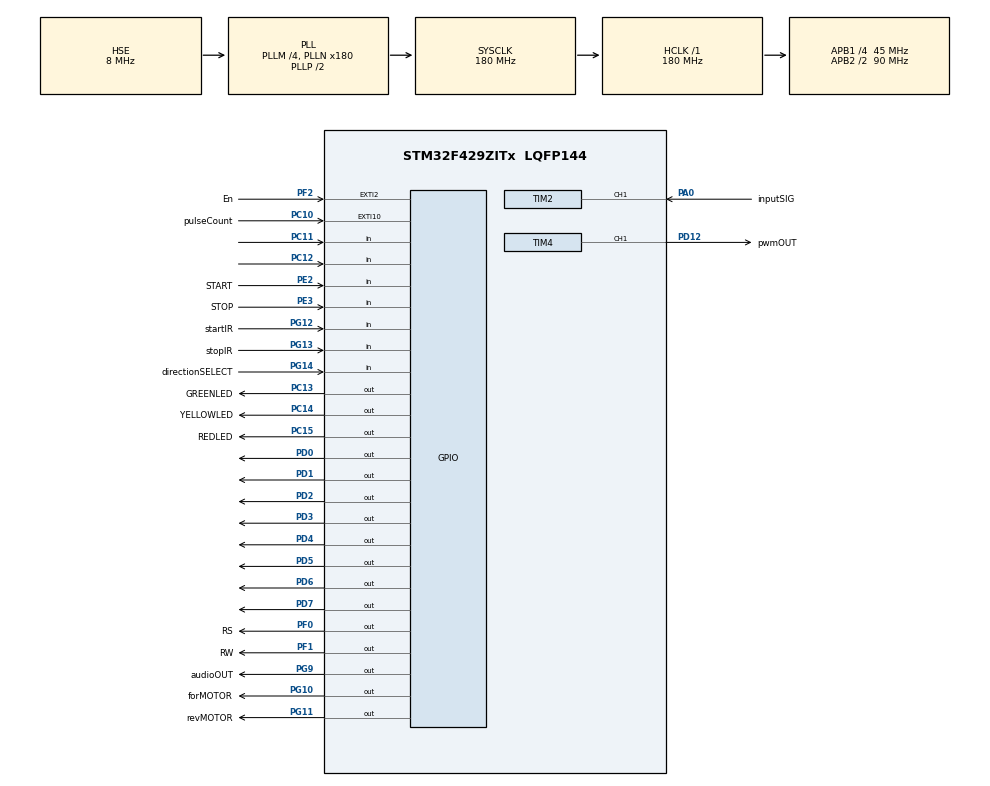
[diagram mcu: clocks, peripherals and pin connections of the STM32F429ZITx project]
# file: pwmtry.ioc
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Mcu.Family=STM32F4
Mcu.Name=STM32F429ZITx
Mcu.Package=LQFP144
NVIC.EXTI15_10_IRQn=true\:0\:0\:false\:false\:true\:true
NVIC.PriorityGroup=NVIC_PRIORITYGROUP_0
NVIC.TIM2_IRQn=true\:0\:0\:false\:false\:true\:true
NVIC.TIM7_IRQn=true\:0\:0\:false\:false\:true\:false
NVIC.TimeBase=TIM7_IRQn
NVIC.TimeBaseIP=TIM7
PA0/WKUP.GPIO_Label=inputSIG
PA0/WKUP.Signal=S_TIM2_CH1_ETR
PC10.GPIO_Label=pulseCount
PC10.Signal=GPXTI10
PC11.Signal=GPIO_Input
PC12.Signal=GPIO_Input
PC13.GPIO_Label=GREENLED
PC13.Signal=GPIO_Output
PC14/OSC32_IN.GPIO_Label=YELLOWLED
PC14/OSC32_IN.Signal=GPIO_Output
PC15/OSC32_OUT.GPIO_Label=REDLED
PC15/OSC32_OUT.Signal=GPIO_Output
PD0.Signal=GPIO_Output
PD1.Signal=GPIO_Output
PD12.GPIO_Label=pwmOUT
PD12.Signal=S_TIM4_CH1
PD2.Signal=GPIO_Output
PD3.Signal=GPIO_Output
PD4.Signal=GPIO_Output
PD5.Signal=GPIO_Output
PD6.Signal=GPIO_Output
PD7.Signal=GPIO_Output
PE2.GPIO_Label=START
PE2.Signal=GPIO_Input
PE3.GPIO_Label=STOP
PE3.Signal=GPIO_Input
PF0.GPIO_Label=RS
PF0.Signal=GPIO_Output
PF1.GPIO_Label=RW
PF1.Signal=GPIO_Output
PF2.GPIO_Label=En
PF2.Signal=GPXTI2
PG10.GPIO_Label=forMOTOR
PG10.Signal=GPIO_Output
PG11.GPIO_Label=revMOTOR
PG11.Signal=GPIO_Output
PG12.GPIO_Label=startIR
PG12.Signal=GPIO_Input
PG13.GPIO_Label=stopIR
PG13.Signal=GPIO_Input
PG14.GPIO_Label=directionSELECT
PG14.Signal=GPIO_Input
PG9.GPIO_Label=audioOUT
PG9.Signal=GPIO_Output
PH0/OSC_IN.Mode=HSE-External-Oscillator
PH0/OSC_IN.Signal=RCC_OSC_IN
PH1/OSC_OUT.Mode=HSE-External-Oscillator
PH1/OSC_OUT.Signal=RCC_OSC_OUT
ProjectManager.HeapSize=0x200
ProjectManager.StackSize=0x400
ProjectManager.TargetToolchain=EWARM V8
RCC.48MHZClocksFreq_Value=51428571.428571425
RCC.AHBFreq_Value=180000000
RCC.APB1CLKDivider=RCC_HCLK_DIV4
RCC.APB1Freq_Value=45000000
RCC.APB1TimFreq_Value=90000000
RCC.APB2CLKDivider=RCC_HCLK_DIV2
RCC.APB2Freq_Value=90000000
RCC.APB2TimFreq_Value=180000000
RCC.CortexFreq_Value=180000000
RCC.HCLKFreq_Value=180000000
RCC.HSE_VALUE=8000000
RCC.HSI_VALUE=16000000
RCC.LSE_VALUE=32768
RCC.PLLM=4
RCC.PLLN=180
RCC.PLLQ=7
RCC.PLLSourceVirtual=RCC_PLLSOURCE_HSE
RCC.SYSCLKFreq_VALUE=180000000
RCC.SYSCLKSource=RCC_SYSCLKSOURCE_PLLCLK
RCC.VCOOutputFreq_Value=360000000
SH.S_TIM2_CH1_ETR.0=TIM2_CH1,Input_Capture1_from_TI1
SH.S_TIM4_CH1.0=TIM4_CH1,PWM Generation1 CH1
TIM2.Channel-Input_Capture1_from_TI1=TIM_CHANNEL_1
TIM2.ICPolarity_CH1=TIM_INPUTCHANNELPOLARITY_BOTHEDGE
TIM2.Period=0xFFFFFFFF
TIM4.Channel-PWM\ Generation1\ CH1=TIM_CHANNEL_1
TIM4.Period=3000
VP_SYS_VS_tim7.Mode=TIM7
board=32F429IDISCOVERY

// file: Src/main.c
/* USER CODE BEGIN Header */
/**
  ******************************************************************************
  * @file           : main.c
  * @brief          : Main program body
  ******************************************************************************
  ** This notice applies to any and all portions of this file
  * that are not between comment pairs USER CODE BEGIN and
  * USER CODE END. Other portions of this file, whether
  * inserted by the user or by software development tools
  * are owned by their respective copyright owners.
  *
  * COPYRIGHT(c) 2019 STMicroelectronics
  *
  * Redistribution and use in source and binary forms, with or without modification,
  * are permitted provided that the following conditions are met:
  *   1. Redistributions of source code must retain the above copyright notice,
  *      this list of conditions and the following disclaimer.
  *   2. Redistributions in binary form must reproduce the above copyright notice,
  *      this list of conditions and the following disclaimer in the documentation
  *      and/or other materials provided with the distribution.
  *   3. Neither the name of STMicroelectronics nor the names of its contributors
  *      may be used to endorse or promote products derived from this software
  *      without specific prior written permission.
  *
  * THIS SOFTWARE IS PROVIDED BY THE COPYRIGHT HOLDERS AND CONTRIBUTORS "AS IS"
  * AND ANY EXPRESS OR IMPLIED WARRANTIES, INCLUDING, BUT NOT LIMITED TO, THE
  * IMPLIED WARRANTIES OF MERCHANTABILITY AND FITNESS FOR A PARTICULAR PURPOSE ARE
  * DISCLAIMED. IN NO EVENT SHALL THE COPYRIGHT HOLDER OR CONTRIBUTORS BE LIABLE
  * FOR ANY DIRECT, INDIRECT, INCIDENTAL, SPECIAL, EXEMPLARY, OR CONSEQUENTIAL
  * DAMAGES (INCLUDING, BUT NOT LIMITED TO, PROCUREMENT OF SUBSTITUTE GOODS OR
  * SERVICES; LOSS OF USE, DATA, OR PROFITS; OR BUSINESS INTERRUPTION) HOWEVER
  * CAUSED AND ON ANY THEORY OF LIABILITY, WHETHER IN CONTRACT, STRICT LIABILITY,
  * OR TORT (INCLUDING NEGLIGENCE OR OTHERWISE) ARISING IN ANY WAY OUT OF THE USE
  * OF THIS SOFTWARE, EVEN IF ADVISED OF THE POSSIBILITY OF SUCH DAMAGE.
  *
  ******************************************************************************
  */
/* USER CODE END Header */

#include "main.h"

TIM_HandleTypeDef htim2;
TIM_HandleTypeDef htim4;

/* USER CODE BEGIN PV */
double period, freq,fall,rise;
int s=1,j;
int reset = 0; //0 for no 1 for yes
extern int edgeCount;
/* USER CODE END PV */

void SystemClock_Config(void);
static void MX_GPIO_Init(void);
static void MX_TIM2_Init(void);
static void MX_TIM4_Init(void);
/* USER CODE BEGIN PFP */
static void startProcess(void);
static void doProcess(void);
static void endProcess(void);
static void doPWM(void);
static void forwardMotor(int);
static void backwardMotor(int);
static void stopMotor(void);
//static void init(void);
//static void command(int);
//static void write(int);
void command (int i){
   GPIOD->ODR=i; // send to PD0-7
   HAL_GPIO_WritePin(GPIOF, RS_Pin,GPIO_PIN_RESET);//RS PF0
   HAL_GPIO_WritePin(GPIOF, RW_Pin,GPIO_PIN_RESET);//R/W PF1
   HAL_GPIO_WritePin(GPIOF, En_Pin,GPIO_PIN_SET);//E PF2
   HAL_Delay(1);
   HAL_GPIO_WritePin(GPIOF, En_Pin,GPIO_PIN_RESET);//En PF2
}
void write ( int i){
   GPIOD->ODR=i; // send to PD0-7
   HAL_GPIO_WritePin(GPIOF, RS_Pin,GPIO_PIN_SET);//RS PF0
   HAL_GPIO_WritePin(GPIOF, RW_Pin,GPIO_PIN_RESET);//R/W PF1
   HAL_GPIO_WritePin(GPIOF, En_Pin,GPIO_PIN_SET);//E PF2
   HAL_Delay(1);
    HAL_GPIO_WritePin(GPIOF, En_Pin,GPIO_PIN_RESET);//En PF2
}
void init(){
   HAL_GPIO_WritePin(GPIOF, En_Pin,GPIO_PIN_RESET);//En PF2
   HAL_Delay(20);
   command(0x30);
   HAL_Delay(6);
   command(0x30);
   HAL_Delay(10);
   command(0x30);
   HAL_Delay(1);
   command(0x38);
   command(0x00);
   command(0x0F);
   command(0x06);
}
void displayTemp(int temp){
       if(temp==0){
       //command(0x00);
       write(0x30); // display 0
       }
       if(temp==1){
       //command(0x00);
       write(0x31); // display 1
       }
       if(temp==2){
       //command(0x00);
       write(0x32); // display 2
       }
      if(temp==3){
       //command(0x00);
       write(0x33); // display 3
       }
       if(temp==4){
       //command(0x00);
       write(0x34); // display 4
       }
      if(temp==5){
       //command(0x00);
       write(0x35); // display 5
       }
       if(temp==6){
       //command(0x00);
       write(0x36); // display 6
       }
       if(temp==7){
      // command(0x00);
       write(0x37); // display 7
       }
       if(temp==8){
       //command(0x00);
       write(0x38); // display 8
       }
       if(temp==9){
       //command(0x00);
       write(0x39); // display 9
       }

}
void splitNum(int temp){
  int rem=0,val=0;
  if(temp<=9){
    displayTemp(temp);
    }
    if(temp<=99){
    val=temp/1000;
    rem=temp%1000;
    displayTemp(val);
    displayTemp(rem);
    }

}
void LCDstart(){

  // displays Start Signal Triggered
      command(0x00); // start from first every time
//      write(0x25); // display *
//      write(0x25); // display *
//      write(0x3D); // display =
//      write(0x3D); // display =
//      write(0x3D); // display =
      write(0x53); // display S
      write(0x74); // display t
      write(0x61); // display a
      write(0x72); // display r
      write(0x74); // display
      write(0x11); // display space
      write(0x64); // display d
      write(0x11); // display space
     // j=100;
      //splitNum(j);

//      write(0x02); // display space
//      write(0x53); // display S
//      write(0x69); // display i
//      write(0x67); // display g
//      write(0x6D); // display n
//      write(0x61); // display a
//      write(0x6C); // display l
//      write(0x02); // display space
//      write(0x54); // display T
//      write(0x72); // display r
//      write(0x69); // display i
//      write(0x67); // display g
//      write(0x67); // display g
//      write(0x65); // display e
//      write(0x72); // display r
//      write(0x65); // display e
//      write(0x64); // display d
//      write(0x3D); // display =
//      write(0x3D); // display =
//      write(0x3D); // display =
//      write(0x25); // display *
//      write(0x25); // display *

}
void LCDdoProcess(){
  // displays Do process
      command(0x00); // start from first every time
//      write(0x3D); // display =
//      write(0x3D); // display =
//      write(0x3D); // display =
//      write(0x25); // display *
//      write(0x25); // display *
      write(0x44); // display D
      write(0x6F); // display o
      write(0x11); // display space
//      write(0x50); // display P
//      write(0x72); // display r
//      write(0x6F); // display o
//      write(0x72); // display c
//      write(0x65); // display e
//      write(0x73); // display s
//      write(0x73); // display s
//      write(0x3D); // display =
//      write(0x3D); // display =
//      write(0x3D); // display =
//      write(0x25); // display *
//      write(0x25); // display *

}
void LCDDtop(){
// stop
      command(0x00); // start from first every time
      write(0x73); // display s
      write(0x54); // display T
      write(0x6F); // display o
      write(0x50); // display P

}
//static void init(void);
/* USER CODE END PFP */

int main(void)
{

  /* MCU Configuration--------------------------------------------------------*/

  /* Reset of all peripherals, Initializes the Flash interface and the Systick. */
  HAL_Init();

  /* Configure the system clock */
  SystemClock_Config();

  /* Initialize all configured peripherals */
  MX_GPIO_Init();
  MX_TIM2_Init();
  MX_TIM4_Init();
  /* USER CODE BEGIN 2 */
  init();
 // LCDdoProcess();
//  command(0x00);
//  write(0x30);
  HAL_TIM_IC_Start_IT(&htim2, TIM_CHANNEL_1);
  HAL_TIM_PWM_Start(&htim4, TIM_CHANNEL_1);
  //HAL_TIM_Base_Start_IT(&htim2);
  /* USER CODE END 2 */

  /* Infinite loop */
  /* USER CODE BEGIN WHILE */
  while (1)
  {
     //LCDDtop();
 //command(0x00);
  write(0x33);
        //start signal has been triggered.
    if(HAL_GPIO_ReadPin(GPIOE,GPIO_PIN_2) == 1){
      printf("**=== Start Signal Triggered ===**\n");
      printf("Beginning process\n");
      startProcess();
      doProcess();
       if(HAL_GPIO_ReadPin(GPIOE,GPIO_PIN_3) == 1){
        TIM4->CCR1=0;
        }
     endProcess();
    }
    if(HAL_GPIO_ReadPin(GPIOG,GPIO_PIN_14) == 0){
      //if triggered then go into reset mode
      while(HAL_GPIO_ReadPin(GPIOC,GPIO_PIN_12) == 1){
        printf("**Reseting Conveyor Belt**\n");
        backwardMotor(0);
      }
    }
//    else if(HAL_GPIO_ReadPin(GPIOE,GPIO_PIN_2) == 0 && HAL_GPIO_ReadPin(GPIOG,GPIO_PIN_14) == 0){
//      scanf("%d",&reset); //scan for reset terminal input
//      if(reset == 1){
//      printf("***RESET INITIALIZED***\n");
//      printf("***Moving motor backwards\n***\n");
//      if(HAL_GPIO_ReadPin(GPIOC,GPIO_PIN_11) == 1){
//      backwardMotor(0);
//      }
//      }
//    }
    /* USER CODE END WHILE */

  }
}

void SystemClock_Config(void)
{
  RCC_OscInitTypeDef RCC_OscInitStruct = {0};
  RCC_ClkInitTypeDef RCC_ClkInitStruct = {0};

  /**Configure the main internal regulator output voltage
  */
  __HAL_RCC_PWR_CLK_ENABLE();
  __HAL_PWR_VOLTAGESCALING_CONFIG(PWR_REGULATOR_VOLTAGE_SCALE1);
  /**Initializes the CPU, AHB and APB busses clocks
  */
  RCC_OscInitStruct.OscillatorType = RCC_OSCILLATORTYPE_HSE;
  RCC_OscInitStruct.HSEState = RCC_HSE_ON;
  RCC_OscInitStruct.PLL.PLLState = RCC_PLL_ON;
  RCC_OscInitStruct.PLL.PLLSource = RCC_PLLSOURCE_HSE;
  RCC_OscInitStruct.PLL.PLLM = 4;
  RCC_OscInitStruct.PLL.PLLN = 180;
  RCC_OscInitStruct.PLL.PLLP = RCC_PLLP_DIV2;
  RCC_OscInitStruct.PLL.PLLQ = 7;
  if (HAL_RCC_OscConfig(&RCC_OscInitStruct) != HAL_OK)
  {
    Error_Handler();
  }
  /**Activate the Over-Drive mode
  */
  if (HAL_PWREx_EnableOverDrive() != HAL_OK)
  {
    Error_Handler();
  }
  /**Initializes the CPU, AHB and APB busses clocks
  */
  RCC_ClkInitStruct.ClockType = RCC_CLOCKTYPE_HCLK|RCC_CLOCKTYPE_SYSCLK
                              |RCC_CLOCKTYPE_PCLK1|RCC_CLOCKTYPE_PCLK2;
  RCC_ClkInitStruct.SYSCLKSource = RCC_SYSCLKSOURCE_PLLCLK;
  RCC_ClkInitStruct.AHBCLKDivider = RCC_SYSCLK_DIV1;
  RCC_ClkInitStruct.APB1CLKDivider = RCC_HCLK_DIV4;
  RCC_ClkInitStruct.APB2CLKDivider = RCC_HCLK_DIV2;

  if (HAL_RCC_ClockConfig(&RCC_ClkInitStruct, FLASH_LATENCY_5) != HAL_OK)
  {
    Error_Handler();
  }
}

static void MX_TIM2_Init(void)
{

  TIM_MasterConfigTypeDef sMasterConfig = {0};
  TIM_IC_InitTypeDef sConfigIC = {0};

  htim2.Instance = TIM2;
  htim2.Init.Prescaler = 0;
  htim2.Init.CounterMode = TIM_COUNTERMODE_UP;
  htim2.Init.Period = 0xFFFFFFFF;
  htim2.Init.ClockDivision = TIM_CLOCKDIVISION_DIV1;
  if (HAL_TIM_IC_Init(&htim2) != HAL_OK)
  {
    Error_Handler();
  }
  sMasterConfig.MasterOutputTrigger = TIM_TRGO_RESET;
  sMasterConfig.MasterSlaveMode = TIM_MASTERSLAVEMODE_DISABLE;
  if (HAL_TIMEx_MasterConfigSynchronization(&htim2, &sMasterConfig) != HAL_OK)
  {
    Error_Handler();
  }
  sConfigIC.ICPolarity = TIM_INPUTCHANNELPOLARITY_BOTHEDGE;
  sConfigIC.ICSelection = TIM_ICSELECTION_DIRECTTI;
  sConfigIC.ICPrescaler = TIM_ICPSC_DIV1;
  sConfigIC.ICFilter = 0;
  if (HAL_TIM_IC_ConfigChannel(&htim2, &sConfigIC, TIM_CHANNEL_1) != HAL_OK)
  {
    Error_Handler();
  }

}

static void MX_TIM4_Init(void)
{

  TIM_MasterConfigTypeDef sMasterConfig = {0};
  TIM_OC_InitTypeDef sConfigOC = {0};

  htim4.Instance = TIM4;
  htim4.Init.Prescaler = 0;
  htim4.Init.CounterMode = TIM_COUNTERMODE_UP;
  htim4.Init.Period = 3000;
  htim4.Init.ClockDivision = TIM_CLOCKDIVISION_DIV1;
  if (HAL_TIM_PWM_Init(&htim4) != HAL_OK)
  {
    Error_Handler();
  }
  sMasterConfig.MasterOutputTrigger = TIM_TRGO_RESET;
  sMasterConfig.MasterSlaveMode = TIM_MASTERSLAVEMODE_DISABLE;
  if (HAL_TIMEx_MasterConfigSynchronization(&htim4, &sMasterConfig) != HAL_OK)
  {
    Error_Handler();
  }
  sConfigOC.OCMode = TIM_OCMODE_PWM1;
  sConfigOC.Pulse = 0;
  sConfigOC.OCPolarity = TIM_OCPOLARITY_HIGH;
  sConfigOC.OCFastMode = TIM_OCFAST_DISABLE;
  if (HAL_TIM_PWM_ConfigChannel(&htim4, &sConfigOC, TIM_CHANNEL_1) != HAL_OK)
  {
    Error_Handler();
  }
  HAL_TIM_MspPostInit(&htim4);

}

static void MX_GPIO_Init(void)
{
  GPIO_InitTypeDef GPIO_InitStruct = {0};

  /* GPIO Ports Clock Enable */
  __HAL_RCC_GPIOE_CLK_ENABLE();
  __HAL_RCC_GPIOC_CLK_ENABLE();
  __HAL_RCC_GPIOF_CLK_ENABLE();
  __HAL_RCC_GPIOH_CLK_ENABLE();
  __HAL_RCC_GPIOA_CLK_ENABLE();
  __HAL_RCC_GPIOD_CLK_ENABLE();
  __HAL_RCC_GPIOG_CLK_ENABLE();

  /*Configure GPIO pin Output Level */
  HAL_GPIO_WritePin(GPIOC, GREENLED_Pin|YELLOWLED_Pin|REDLED_Pin, GPIO_PIN_RESET);

  /*Configure GPIO pin Output Level */
  HAL_GPIO_WritePin(GPIOF, RS_Pin|RW_Pin, GPIO_PIN_RESET);

  /*Configure GPIO pin Output Level */
  HAL_GPIO_WritePin(GPIOD, GPIO_PIN_0|GPIO_PIN_1|GPIO_PIN_2|GPIO_PIN_3
                          |GPIO_PIN_4|GPIO_PIN_5|GPIO_PIN_6|GPIO_PIN_7, GPIO_PIN_RESET);

  /*Configure GPIO pin Output Level */
  HAL_GPIO_WritePin(GPIOG, audioOUT_Pin|forMOTOR_Pin|revMOTOR_Pin, GPIO_PIN_RESET);

  /*Configure GPIO pins : START_Pin STOP_Pin */
  GPIO_InitStruct.Pin = START_Pin|STOP_Pin;
  GPIO_InitStruct.Mode = GPIO_MODE_INPUT;
  GPIO_InitStruct.Pull = GPIO_NOPULL;
  HAL_GPIO_Init(GPIOE, &GPIO_InitStruct);

  /*Configure GPIO pins : GREENLED_Pin YELLOWLED_Pin REDLED_Pin */
  GPIO_InitStruct.Pin = GREENLED_Pin|YELLOWLED_Pin|REDLED_Pin;
  GPIO_InitStruct.Mode = GPIO_MODE_OUTPUT_PP;
  GPIO_InitStruct.Pull = GPIO_NOPULL;
  GPIO_InitStruct.Speed = GPIO_SPEED_FREQ_LOW;
  HAL_GPIO_Init(GPIOC, &GPIO_InitStruct);

  /*Configure GPIO pins : RS_Pin RW_Pin */
  GPIO_InitStruct.Pin = RS_Pin|RW_Pin;
  GPIO_InitStruct.Mode = GPIO_MODE_OUTPUT_PP;
  GPIO_InitStruct.Pull = GPIO_NOPULL;
  GPIO_InitStruct.Speed = GPIO_SPEED_FREQ_LOW;
  HAL_GPIO_Init(GPIOF, &GPIO_InitStruct);

  /*Configure GPIO pin : En_Pin */
  GPIO_InitStruct.Pin = En_Pin;
  GPIO_InitStruct.Mode = GPIO_MODE_IT_RISING;
  GPIO_InitStruct.Pull = GPIO_NOPULL;
  HAL_GPIO_Init(En_GPIO_Port, &GPIO_InitStruct);

  /*Configure GPIO pin : pulseCount_Pin */
  GPIO_InitStruct.Pin = pulseCount_Pin;
  GPIO_InitStruct.Mode = GPIO_MODE_IT_RISING;
  GPIO_InitStruct.Pull = GPIO_NOPULL;
  HAL_GPIO_Init(pulseCount_GPIO_Port, &GPIO_InitStruct);

  /*Configure GPIO pins : PC11 PC12 */
  GPIO_InitStruct.Pin = GPIO_PIN_11|GPIO_PIN_12;
  GPIO_InitStruct.Mode = GPIO_MODE_INPUT;
  GPIO_InitStruct.Pull = GPIO_NOPULL;
  HAL_GPIO_Init(GPIOC, &GPIO_InitStruct);

  /*Configure GPIO pins : PD0 PD1 PD2 PD3
                           PD4 PD5 PD6 PD7 */
  GPIO_InitStruct.Pin = GPIO_PIN_0|GPIO_PIN_1|GPIO_PIN_2|GPIO_PIN_3
                          |GPIO_PIN_4|GPIO_PIN_5|GPIO_PIN_6|GPIO_PIN_7;
  GPIO_InitStruct.Mode = GPIO_MODE_OUTPUT_PP;
  GPIO_InitStruct.Pull = GPIO_NOPULL;
  GPIO_InitStruct.Speed = GPIO_SPEED_FREQ_LOW;
  HAL_GPIO_Init(GPIOD, &GPIO_InitStruct);

  /*Configure GPIO pins : audioOUT_Pin forMOTOR_Pin revMOTOR_Pin */
  GPIO_InitStruct.Pin = audioOUT_Pin|forMOTOR_Pin|revMOTOR_Pin;
  GPIO_InitStruct.Mode = GPIO_MODE_OUTPUT_PP;
  GPIO_InitStruct.Pull = GPIO_NOPULL;
  GPIO_InitStruct.Speed = GPIO_SPEED_FREQ_LOW;
  HAL_GPIO_Init(GPIOG, &GPIO_InitStruct);

  /*Configure GPIO pins : startIR_Pin stopIR_Pin directionSELECT_Pin */
  GPIO_InitStruct.Pin = startIR_Pin|stopIR_Pin|directionSELECT_Pin;
  GPIO_InitStruct.Mode = GPIO_MODE_INPUT;
  GPIO_InitStruct.Pull = GPIO_NOPULL;
  HAL_GPIO_Init(GPIOG, &GPIO_InitStruct);

  /* EXTI interrupt init*/
  HAL_NVIC_SetPriority(EXTI15_10_IRQn, 0, 0);
  HAL_NVIC_EnableIRQ(EXTI15_10_IRQn);

}

/* USER CODE BEGIN 4 */
/**
 * This function is used to blink the start LED (green) five times at 1 blink/s
 * & output a frequency of 5KHz on the buzzer.
**/
static void startProcess(){
  printf("**Start Process BEGIN**\n");

  command(0x00);
  write(0x30);

  LCDstart();
  //sound frequency of 5KHz turn on speaker
  SysTick->CTRL=0x5;
  SysTick->LOAD=18000;
  SysTick->VAL=0;
  SysTick->CTRL=0x7;
  //Blink LED 5 times frequency of 1Hz
  for(int i = 0; i < 5; i++){
     HAL_GPIO_WritePin(GPIOC,GPIO_PIN_13,GPIO_PIN_SET); //turn green LED on
     HAL_Delay(1000); //1s delay
     HAL_GPIO_WritePin(GPIOC,GPIO_PIN_13,GPIO_PIN_RESET); //turn green LED off
     HAL_Delay(1000); //1s delay
  }
  //once process is complete green LED should be off so turn buzzer off too
   SysTick->CTRL=0x0;
   SysTick->LOAD=0;
   SysTick->VAL=0;
   SysTick->CTRL=0x0;
   printf("**Start Process END**\n");

  command(0x00);
  write(0x30);
}

/**
 * This function is used to turn on our process LED (Yellow) to act as an IR
 * Sensor that stays on while the conveyer belt is moving. System outputs
 * PWM signal to drive motor and samples the frequency. Look for an active low
 * 0-3.3V
**/
static void doProcess(){
  printf("**Do Process**\n");
  //***TURN ON PERIPHERALS***
  command(0x00);
  write(0x30);
  LCDdoProcess();
  //Turn process LED (yellow) on
  HAL_GPIO_WritePin(GPIOC,GPIO_PIN_14,GPIO_PIN_SET); //yellow LED ON
//  while(HAL_GPIO_ReadPin(GPIOE,GPIO_PIN_3) == 0){
//    doPWM();
//  }
   while( HAL_GPIO_ReadPin(GPIOC,GPIO_PIN_12) == 1 &&  HAL_GPIO_ReadPin(GPIOE,GPIO_PIN_3) == 0){
     if(edgeCount == 20){
       stopMotor();
       HAL_Delay(2000);
       printf("Motor stopped\n");
       edgeCount++;
     }
     if(edgeCount == 60){
       stopMotor();
       HAL_Delay(2000);
       printf("Motor stopped\n");
       edgeCount++;
     }
      else{
       doPWM();
     }

  }
  //HAL_Delay(500); //temp delay to be filled by application logic
  HAL_GPIO_WritePin(GPIOC,GPIO_PIN_14,GPIO_PIN_RESET); //yellow LED OFF
  //***TURN OFF PERIPHERALS***

  //Sample PWM frequency output until the stop switch has been flipped
  //Stop sampling

  printf("Sampling stopped\n");
  //TODO: for now sample ends at stop and consider the belt stop here too.
  //Stop motor
  stopMotor();
  printf("Motor stopped\n");
  printf("Do Process END\n");
  command(0x00);
  write(0x30);
}

static void endProcess(){
  printf("**End Process Start**\n");
   SysTick->CTRL=0x5;
   SysTick->LOAD=30000;
   SysTick->VAL=0;
   SysTick->CTRL=0x7;

  //Turn on Stop LED (RED)
    for(int i = 0; i < 8; i++){
     HAL_GPIO_WritePin(GPIOC,GPIO_PIN_15,GPIO_PIN_SET); //turn red LED on
     HAL_Delay(500); //1s delay
     HAL_GPIO_WritePin(GPIOC,GPIO_PIN_15,GPIO_PIN_RESET); //turn red LED off
     HAL_Delay(500); //1s delay
  }

   SysTick->CTRL=0x0;
   SysTick->LOAD=0;
   SysTick->VAL=0;
   SysTick->CTRL=0x0;
   printf("**End Process END**\n");
}
static void doPWM(){
  if(HAL_GPIO_ReadPin(GPIOG,GPIO_PIN_14) == 1){
//    if(edgeCount > 40 && edgeCount <100){
//      stopMotor();
//    }
//    if(edgeCount > 100 && edgeCount < 160){
//      stopMotor();
//    }
    forwardMotor(0);
  }
 if(HAL_GPIO_ReadPin(GPIOG,GPIO_PIN_14) == 0){
//    if(edgeCount > 40 && edgeCount <100){
//      stopMotor();
//    }
//    if(edgeCount > 100 && edgeCount < 160){
//      stopMotor();
//    }
    backwardMotor(0);
  }
//  if(HAL_GPIO_ReadPin(GPIOG,GPIO_PIN_12) == 1){
//    printf("Start Sensor HIGH!\n");
//  }
// if(HAL_GPIO_ReadPin(GPIOG,GPIO_PIN_12) == 0){
//    printf("Start Sensor LOW!\n");
//  }
    if((freq>=4.35)&&(freq<4.5)){
    TIM4->CCR1=2850;
    }
    if((freq>=4.65)&&(freq<4.8)){
    TIM4->CCR1=2700;
    }
    if((freq>=4.75)&&(freq<4.9)){
    TIM4->CCR1=2550;
    }
    if((freq>=4.85)&&(freq<5.0)){
    TIM4->CCR1=2400;
    }
    if((freq>=4.95)&&(freq<5.1)){
    TIM4->CCR1=2250;
    }
    if((freq>=5.05)&&(freq<5.2)){
    TIM4->CCR1=2100;
    }
    if((freq>=5.15)&&(freq<5.3)){
    TIM4->CCR1=1950;
    }
    if((freq>=5.25)&&(freq<5.4)){
    TIM4->CCR1=1800;
    }
    if((freq>=5.35)&&(freq<5.5)){
    TIM4->CCR1=1650;
    }
    if((freq>=5.45)&&(freq<5.6)){
    TIM4->CCR1=1500;
    }
    if((freq>=5.55)&&(freq<5.7)){
    TIM4->CCR1=1350;
    }
    if((freq>=5.65)&&(freq<5.8)){
    TIM4->CCR1=1200;
    }
    if((freq>=5.75)&&(freq<5.9)){
    TIM4->CCR1=1050;
    }
    if((freq>=5.85)&&(freq<6.0)){
    TIM4->CCR1=900;
    }
    if((freq>=5.95)&&(freq<6.1)){
    TIM4->CCR1=750;
    }
    if((freq>=6.05)&&(freq<6.2)){
    TIM4->CCR1=600;
    }
    if((freq>=6.15)&&(freq<6.3)){
    TIM4->CCR1=450;
    }
    if((freq>=6.25)&&(freq<6.4)){
    TIM4->CCR1=300;
    }
    if((freq>=6.35)&&(freq<6.5)){
    TIM4->CCR1=0;
    }
}

static void forwardMotor(int speed){
  //printf("Motor moving forward\n");
  HAL_GPIO_WritePin(GPIOG, GPIO_PIN_10,GPIO_PIN_SET);
  HAL_GPIO_WritePin(GPIOG, GPIO_PIN_11,GPIO_PIN_RESET);
}

static void backwardMotor(int speed){
  //printf("Motor moving backward\n");
  HAL_GPIO_WritePin(GPIOG, GPIO_PIN_11,GPIO_PIN_SET);
  HAL_GPIO_WritePin(GPIOG, GPIO_PIN_10,GPIO_PIN_RESET);
}

static void stopMotor(){
  HAL_GPIO_WritePin(GPIOG, GPIO_PIN_11,GPIO_PIN_RESET);
  HAL_GPIO_WritePin(GPIOG, GPIO_PIN_10,GPIO_PIN_RESET);
}

//void command (int i){
//   GPIOD->ODR=i; // send to PD0-7
//   HAL_GPIO_WritePin(GPIOF, RS_Pin,GPIO_PIN_RESET);//RS PF0
//   HAL_GPIO_WritePin(GPIOF, RW_Pin,GPIO_PIN_RESET);//R/W PF1
//   HAL_GPIO_WritePin(GPIOF, En_Pin,GPIO_PIN_SET);//E PF2
//   HAL_Delay(1);
//   HAL_GPIO_WritePin(GPIOF, En_Pin,GPIO_PIN_RESET);//En PF2
//}
//void write ( int i){
//   GPIOD->ODR=i; // send to PD0-7
//   HAL_GPIO_WritePin(GPIOF, RS_Pin,GPIO_PIN_SET);//RS PF0
//   HAL_GPIO_WritePin(GPIOF, RW_Pin,GPIO_PIN_RESET);//R/W PF1
//   HAL_GPIO_WritePin(GPIOF, En_Pin,GPIO_PIN_SET);//E PF2
//   HAL_Delay(1);
//    HAL_GPIO_WritePin(GPIOF, En_Pin,GPIO_PIN_RESET);//En PF2
//}
//void init(){
//   HAL_GPIO_WritePin(GPIOF, En_Pin,GPIO_PIN_RESET);//En PF2
//   HAL_Delay(100);
//   command(0x38);
//   HAL_Delay(5);
//   command(0x38);
//   HAL_Delay(1);
//   command(0x0C);
//   HAL_Delay(1);
//   command(0x01);
//   HAL_Delay(15);
//   //command(0x00);
//   //command(0x0F);
//   command(0x06);
//   HAL_Delay(1);
//}
//void functionSet(){
//   HAL_GPIO_WritePin(GPIOD, GPIO_PIN_0,GPIO_PIN_RESET);// PD0/DB0
//   HAL_GPIO_WritePin(GPIOD, GPIO_PIN_1,GPIO_PIN_RESET);//PD1/DB1
//   HAL_GPIO_WritePin(GPIOD, GPIO_PIN_2,GPIO_PIN_SET);//PD2/DB2
//   HAL_GPIO_WritePin(GPIOD, GPIO_PIN_3,GPIO_PIN_SET);//PD3/DB3
//   HAL_GPIO_WritePin(GPIOD, GPIO_PIN_4,GPIO_PIN_SET);//PD4/DB4
//   HAL_GPIO_WritePin(GPIOD, GPIO_PIN_5,GPIO_PIN_SET);//PD5/DB5
//   HAL_GPIO_WritePin(GPIOD, GPIO_PIN_6,GPIO_PIN_RESET);//PD6/DB6
//   HAL_GPIO_WritePin(GPIOD, GPIO_PIN_7,GPIO_PIN_RESET);//PD7/DB7
//   HAL_GPIO_WritePin(GPIOC, RW_Pin,GPIO_PIN_RESET);//R/W
//   HAL_GPIO_WritePin(GPIOC, RS_Pin,GPIO_PIN_RESET);//RS
//   HAL_Delay(1);
//}
//
//void DisplyOnOff(){
//   HAL_GPIO_WritePin(GPIOD, GPIO_PIN_0,GPIO_PIN_SET);// PD0/DB0
//   HAL_GPIO_WritePin(GPIOD, GPIO_PIN_1,GPIO_PIN_SET);//PD1/DB1
//   HAL_GPIO_WritePin(GPIOD, GPIO_PIN_2,GPIO_PIN_SET);//PD2/DB2
//   HAL_GPIO_WritePin(GPIOD, GPIO_PIN_3,GPIO_PIN_SET);//PD3/DB3
//   HAL_GPIO_WritePin(GPIOD, GPIO_PIN_4,GPIO_PIN_RESET);//PD4/DB4
//   HAL_GPIO_WritePin(GPIOD, GPIO_PIN_5,GPIO_PIN_RESET);//PD5/DB5
//   HAL_GPIO_WritePin(GPIOD, GPIO_PIN_6,GPIO_PIN_RESET);//PD6/DB6
//   HAL_GPIO_WritePin(GPIOD, GPIO_PIN_7,GPIO_PIN_RESET);//PD7/DB7
//   HAL_GPIO_WritePin(GPIOC, RW_Pin,GPIO_PIN_RESET);//R/W
//   HAL_GPIO_WritePin(GPIOC, RS_Pin,GPIO_PIN_RESET);//RS
//   HAL_Delay(1);
//}
//void DisplyClear(){
//   HAL_GPIO_WritePin(GPIOD, GPIO_PIN_0,GPIO_PIN_SET);// PD0/DB0
//   HAL_GPIO_WritePin(GPIOD, GPIO_PIN_1,GPIO_PIN_RESET);//PD1/DB1
//   HAL_GPIO_WritePin(GPIOD, GPIO_PIN_2,GPIO_PIN_RESET);//PD2/DB2
//   HAL_GPIO_WritePin(GPIOD, GPIO_PIN_3,GPIO_PIN_RESET);//PD3/DB3
//   HAL_GPIO_WritePin(GPIOD, GPIO_PIN_4,GPIO_PIN_RESET);//PD4/DB4
//   HAL_GPIO_WritePin(GPIOD, GPIO_PIN_5,GPIO_PIN_RESET);//PD5/DB5
//   HAL_GPIO_WritePin(GPIOD, GPIO_PIN_6,GPIO_PIN_RESET);//PD6/DB6
//   HAL_GPIO_WritePin(GPIOD, GPIO_PIN_7,GPIO_PIN_RESET);//PD7/DB7
//   HAL_GPIO_WritePin(GPIOF, RW_Pin,GPIO_PIN_RESET);//R/W
//   HAL_GPIO_WritePin(GPIOF, RS_Pin,GPIO_PIN_RESET);//RS
//   HAL_Delay(2);
//}
//
//void EntryMode(){
//   HAL_GPIO_WritePin(GPIOD, GPIO_PIN_0,GPIO_PIN_RESET);// PD0/DB0
//   HAL_GPIO_WritePin(GPIOD, GPIO_PIN_1,GPIO_PIN_SET);//PD1/DB1
//   HAL_GPIO_WritePin(GPIOD, GPIO_PIN_2,GPIO_PIN_SET);//PD2/DB2
//   HAL_GPIO_WritePin(GPIOD, GPIO_PIN_3,GPIO_PIN_RESET);//PD3/DB3
//   HAL_GPIO_WritePin(GPIOD, GPIO_PIN_4,GPIO_PIN_RESET);//PD4/DB4
//   HAL_GPIO_WritePin(GPIOD, GPIO_PIN_5,GPIO_PIN_RESET);//PD5/DB5
//   HAL_GPIO_WritePin(GPIOD, GPIO_PIN_6,GPIO_PIN_RESET);//PD6/DB6
//   HAL_GPIO_WritePin(GPIOD, GPIO_PIN_7,GPIO_PIN_RESET);//PD7/DB7
//   HAL_GPIO_WritePin(GPIOG, RW_Pin,GPIO_PIN_RESET);//R/W
//   HAL_GPIO_WritePin(GPIOG, RS_Pin,GPIO_PIN_RESET);//RS
//   HAL_Delay(1);
//}
//void LCDstart(){
//
//  // displays Start Signal Triggered
//      command(0x00); // start from first every time
//      write(0x25); // display *
//      write(0x25); // display *
//      write(0x3D); // display =
//      write(0x3D); // display =
//      write(0x3D); // display =
//      write(0x53); // display S
//      write(0x74); // display t
//      write(0x61); // display a
//      write(0x72); // display r
//      write(0x74); // display
//      write(0x02); // display space
//      write(0x53); // display S
//      write(0x69); // display i
//      write(0x67); // display g
//      write(0x6D); // display n
//      write(0x61); // display a
//      write(0x6C); // display l
//      write(0x02); // display space
//      write(0x54); // display T
//      write(0x72); // display r
//      write(0x69); // display i
//      write(0x67); // display g
//      write(0x67); // display g
//      write(0x65); // display e
//      write(0x72); // display r
//      write(0x65); // display e
//      write(0x64); // display d
//      write(0x3D); // display =
//      write(0x3D); // display =
//      write(0x3D); // display =
//      write(0x25); // display *
//      write(0x25); // display *
//
//}
//void LCDdoProcess(){
//  // displays Do process
//      command(0x00); // start from first every time
//      write(0x3D); // display =
//      write(0x3D); // display =
//      write(0x3D); // display =
//      write(0x25); // display *
//      write(0x25); // display *
//      write(0x44); // display D
//      write(0x6F); // display o
//      write(0x02); // display space
//      write(0x50); // display P
//      write(0x72); // display r
//      write(0x6F); // display o
//      write(0x72); // display c
//      write(0x65); // display e
//      write(0x73); // display s
//      write(0x73); // display s
//      write(0x3D); // display =
//      write(0x3D); // display =
//      write(0x3D); // display =
//      write(0x25); // display *
//      write(0x25); // display *
//
//}
//void displayTemp(int temp){
//       if(temp==0){
//       //command(0x00);
//       write(0x30); // display 0
//       }
//       if(temp==1){
//       //command(0x00);
//       write(0x31); // display 1
//       }
//       if(temp==2){
//       //command(0x00);
//       write(0x32); // display 2
//       }
//      if(temp==3){
//       //command(0x00);
//       write(0x33); // display 3
//       }
//       if(temp==4){
//       //command(0x00);
//       write(0x34); // display 4
//       }
//      if(temp==5){
//       //command(0x00);
//       write(0x35); // display 5
//       }
//       if(temp==6){
//       //command(0x00);
//       write(0x36); // display 6
//       }
//       if(temp==7){
//      // command(0x00);
//       write(0x37); // display 7
//       }
//       if(temp==8){
//       //command(0x00);
//       write(0x38); // display 8
//       }
//       if(temp==9){
//       //command(0x00);
//       write(0x39); // display 9
//       }
//
//}
//void splitNum(int temp){
//  int rem=0,val=0;
//  if(temp<=9){
//    displayTemp(temp);
//    }
//    if(temp<=99){
//    val=temp/10;
//    rem=temp%10;
//    displayTemp(val);
//    displayTemp(rem);
//    }
//}

/* USER CODE END 4 */

void HAL_TIM_PeriodElapsedCallback(TIM_HandleTypeDef *htim)
{
  if (htim->Instance == TIM7) {
    HAL_IncTick();
  }
}

void Error_Handler(void)
{
}

/************************ (C) COPYRIGHT STMicroelectronics *****END OF FILE****/
